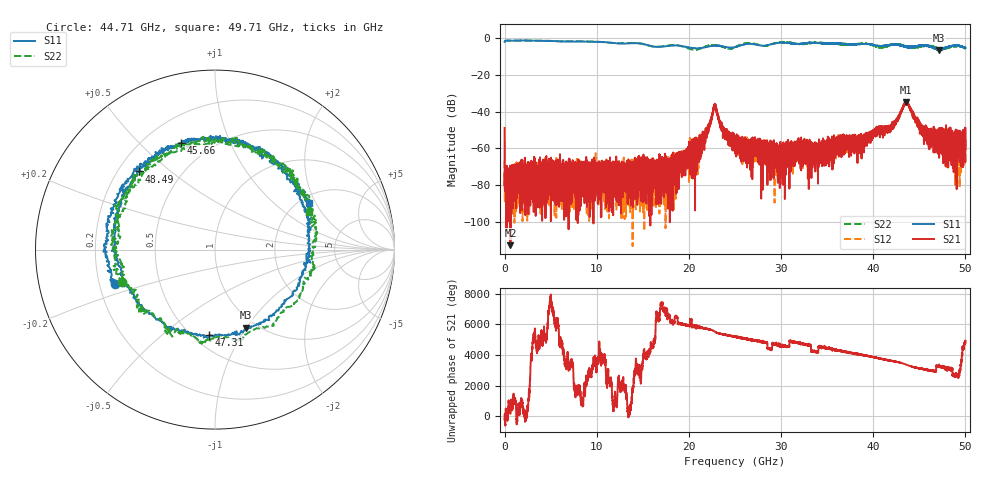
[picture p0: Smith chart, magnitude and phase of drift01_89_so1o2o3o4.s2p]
!Created with skrf (http://scikit-rf.org).
# Hz S RI R 50.0
!freq ReS11 ImS11 ReS21 ImS21 ReS12 ImS12 ReS22 ImS22
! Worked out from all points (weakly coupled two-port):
!   10001 points, 300 kHz to 50 GHz, reference 50 ohm
!   highest |S21| = -34.92 dB at 43.58 GHz (marker M1); lowest = -112.7 dB at 630.3 MHz (marker M2)
!   lowest |S11| = -6.6 dB at 47.15 GHz (marker M3), VSWR 2.76, Z = 44.5 - j49.6 ohm
!   |S11| at or under -10 dB: nowhere
!   |S22| runs from -6.4 to -1.4 dB; largest |S21 - S12| = 0.0039
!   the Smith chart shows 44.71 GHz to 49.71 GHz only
!   S11 on the Smith chart (normalised r, x): 44.71 GHz: 0.27, -0.15; 45.66 GHz: 0.34, +0.67; 47.31 GHz: 0.60, -0.74; 48.49 GHz: 0.28, +0.39; 49.71 GHz: 2.24, +1.74
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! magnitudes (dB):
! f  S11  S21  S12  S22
! 300 kHz  -2.1  -48.9  -67.1  -2.1
! 255.3 MHz  -1.4  -70.1  -76.0  -1.4
! 630.3 MHz  -1.5  -112.7  -69.8  -1.5
! 8.335 GHz  -1.9  -73.0  -85.3  -1.8
! 16.67 GHz  -4.8  -67.3  -71.2  -4.8
! 18.09 GHz  -4.2  -69.4  -72.9  -3.9
! 21.1 GHz  -5.6  -56.2  -59.4  -6.0
! 22.8 GHz  -4.3  -36.2  -36.1  -4.0
! 23.72 GHz  -4.6  -49.8  -50.1  -4.9
! 25 GHz  -5.0  -56.6  -58.2  -5.1
! 29.83 GHz  -2.6  -62.5  -60.4  -2.4
! 31.77 GHz  -3.3  -58.9  -61.7  -3.2
! 33.34 GHz  -2.6  -59.1  -60.8  -2.7
! 41.67 GHz  -3.9  -48.2  -49.7  -4.2
! 43.58 GHz  -4.5  -34.9  -35.2  -4.7
! 44.71 GHz  -4.6  -45.1  -44.5  -5.2
! 45.66 GHz  -4.1  -52.4  -51.9  -4.4
! 47.15 GHz  -6.6  -65.2  -54.3  -6.0
! 47.31 GHz  -6.4  -51.8  -52.4  -6.2
! 48.49 GHz  -4.3  -56.8  -61.7  -4.9
! 49.71 GHz  -4.7  -54.8  -58.1  -5.0
! 50 GHz  -5.4  -63.6  -58.2  -5.2
